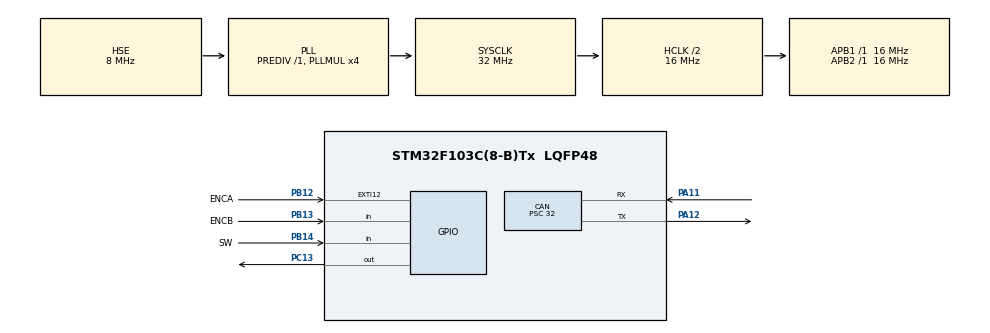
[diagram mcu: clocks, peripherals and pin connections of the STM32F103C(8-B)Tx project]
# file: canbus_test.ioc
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CAN.BS1=CAN_BS1_2TQ
CAN.BS2=CAN_BS2_2TQ
CAN.CalculateBaudRate=100000
CAN.CalculateTimeBit=10000.00
CAN.CalculateTimeQuantum=2000.0
CAN.NART=ENABLE
CAN.Prescaler=32
Mcu.Family=STM32F1
Mcu.Name=STM32F103C(8-B)Tx
Mcu.Package=LQFP48
NVIC.EXTI15_10_IRQn=true\:0\:0\:false\:false\:true\:true\:true
NVIC.PriorityGroup=NVIC_PRIORITYGROUP_4
NVIC.TIM2_IRQn=true\:0\:0\:false\:false\:true\:true\:true
PA11.Mode=CAN_Activate
PA11.Signal=CAN_RX
PA12.Mode=CAN_Activate
PA12.Signal=CAN_TX
PA13.Mode=Serial_Wire
PA13.Signal=SYS_JTMS-SWDIO
PA14.Mode=Serial_Wire
PA14.Signal=SYS_JTCK-SWCLK
PB12.GPIO_Label=ENCA
PB12.Signal=GPXTI12
PB13.GPIO_Label=ENCB
PB13.Signal=GPIO_Input
PB14.GPIO_Label=SW
PB14.Signal=GPIO_Input
PC13-TAMPER-RTC.Signal=GPIO_Output
PD0-OSC_IN.Mode=HSE-External-Oscillator
PD0-OSC_IN.Signal=RCC_OSC_IN
PD1-OSC_OUT.Mode=HSE-External-Oscillator
PD1-OSC_OUT.Signal=RCC_OSC_OUT
ProjectManager.HeapSize=0x200
ProjectManager.StackSize=0x400
ProjectManager.TargetToolchain=STM32CubeIDE
RCC.AHBCLKDivider=RCC_SYSCLK_DIV2
RCC.AHBFreq_Value=16000000
RCC.APB1Freq_Value=16000000
RCC.APB1TimFreq_Value=16000000
RCC.APB2Freq_Value=16000000
RCC.APB2TimFreq_Value=16000000
RCC.HCLKFreq_Value=16000000
RCC.PLLMUL=RCC_PLL_MUL4
RCC.PLLSourceVirtual=RCC_PLLSOURCE_HSE
RCC.SYSCLKFreq_VALUE=32000000
RCC.SYSCLKSource=RCC_SYSCLKSOURCE_PLLCLK
RCC.USBFreq_Value=32000000
TIM2.Period=500
TIM2.Prescaler=16000
VP_TIM2_VS_ClockSourceINT.Mode=Internal
board=custom

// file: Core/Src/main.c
/* USER CODE BEGIN Header */
/**
  ******************************************************************************
  * @file           : main.c
  * @brief          : Main program body
  ******************************************************************************
  * @attention
  *
  * <h2><center>&copy; Copyright (c) 2021 STMicroelectronics.
  * All rights reserved.</center></h2>
  *
  * This software component is licensed by ST under BSD 3-Clause license,
  * the "License"; You may not use this file except in compliance with the
  * License. You may obtain a copy of the License at:
  *                        opensource.org/licenses/BSD-3-Clause
  *
  ******************************************************************************
  */
/* USER CODE END Header */
#include "main.h"

/* USER CODE BEGIN Includes */
#include <stdio.h>
#include <string.h>
/* USER CODE END Includes */

/* USER CODE BEGIN PD */

#define status(value) HAL_GPIO_WritePin(GPIOC, GPIO_PIN_15, value)

/* USER CODE END PD */

CAN_HandleTypeDef hcan;

TIM_HandleTypeDef htim2;

/* USER CODE BEGIN PV */

CAN_TxHeaderTypeDef TxHeader; //structure for transmitting messages
CAN_RxHeaderTypeDef RxHeader; //structure for message reception
CAN_FilterTypeDef FilterConfig; //declare CAN filter structure

uint32_t TxMailbox;
uint8_t rxbuf[8];	//receive buffer
uint8_t txbuf[8];	//transmit buffer
uint8_t button_pressed;
uint8_t mailbox_free_level;

unsigned int read_time;
unsigned int updated_time;
unsigned int count;
unsigned char toggle_value;

union{
	unsigned char data[2];
	unsigned int number;
}conv;

/* USER CODE END PV */

void SystemClock_Config(void);
static void MX_GPIO_Init(void);
static void MX_CAN_Init(void);
static void MX_TIM2_Init(void);

int main(void)
{

  /* MCU Configuration--------------------------------------------------------*/

  /* Reset of all peripherals, Initializes the Flash interface and the Systick. */
  HAL_Init();

  /* Configure the system clock */
  SystemClock_Config();

  /* Initialize all configured peripherals */
  MX_GPIO_Init();
  MX_CAN_Init();
  MX_TIM2_Init();
  /* USER CODE BEGIN 2 */

  HAL_TIM_Base_Start_IT(&htim2);

  txbuf[0] = 0x00;
  toggle_value = 0;

  TxHeader.DLC=1; //give message size of 1 byte
  TxHeader.IDE=CAN_ID_STD; //set identifier to standard
  TxHeader.RTR=CAN_RTR_DATA; //RTR bit is set to data
  TxHeader.TransmitGlobalTime = DISABLE;

  FilterConfig.FilterFIFOAssignment = CAN_FILTER_FIFO0; //set fifo assignment
  FilterConfig.FilterIdHigh = 0; //0x245<<5; //the ID that the filter looks for
  FilterConfig.FilterIdLow = 0;
  FilterConfig.FilterMaskIdHigh = 0;
  FilterConfig.FilterMaskIdLow = 0;
  FilterConfig.FilterScale = CAN_FILTERSCALE_32BIT; //set filter scale
  //FilterConfig.FilterActivation = ENABLE;
  FilterConfig.FilterActivation = ENABLE;

  HAL_CAN_ConfigFilter(&hcan, &FilterConfig); //configure CAN filter

  HAL_CAN_Start(&hcan); //start CAN
  /* USER CODE END 2 */

  /* Infinite loop */
  /* USER CODE BEGIN WHILE */
  while (1)
  {

	  mailbox_free_level = HAL_CAN_GetTxMailboxesFreeLevel(&hcan);

	  read_time = HAL_GetTick();
	  if((read_time - updated_time) >= 1000){
		  updated_time = read_time;
		  count++;
		  TxHeader.StdId = 0x101;
		  TxHeader.DLC = 2;
		  //txbuf[0] = count;
		  conv.number = count;
		  if( mailbox_free_level > 0){
			  memcpy(txbuf, conv.data, sizeof(conv.data));
			  HAL_CAN_AddTxMessage(&hcan, &TxHeader, txbuf, &TxMailbox);
		  }
	  }

	  if((HAL_GPIO_ReadPin(GPIOB, GPIO_PIN_14) == 1) && (button_pressed == 0)){
		  txbuf[0] = toggle_value ^=1;
		  TxHeader.StdId = 0x100;
		  TxHeader.DLC = 1;
		  if( mailbox_free_level > 0){
			  HAL_CAN_AddTxMessage(&hcan, &TxHeader, txbuf, &TxMailbox);
		  }
		  button_pressed = 1;
		  status(1);
	  }else if(HAL_GPIO_ReadPin(GPIOB, GPIO_PIN_14) == 0){
		  button_pressed = 0;
		  status(0);
	  }

    /* USER CODE END WHILE */

  }
}

void SystemClock_Config(void)
{
  RCC_OscInitTypeDef RCC_OscInitStruct = {0};
  RCC_ClkInitTypeDef RCC_ClkInitStruct = {0};

  /** Initializes the RCC Oscillators according to the specified parameters
  * in the RCC_OscInitTypeDef structure.
  */
  RCC_OscInitStruct.OscillatorType = RCC_OSCILLATORTYPE_HSE;
  RCC_OscInitStruct.HSEState = RCC_HSE_ON;
  RCC_OscInitStruct.HSEPredivValue = RCC_HSE_PREDIV_DIV1;
  RCC_OscInitStruct.HSIState = RCC_HSI_ON;
  RCC_OscInitStruct.PLL.PLLState = RCC_PLL_ON;
  RCC_OscInitStruct.PLL.PLLSource = RCC_PLLSOURCE_HSE;
  RCC_OscInitStruct.PLL.PLLMUL = RCC_PLL_MUL4;
  if (HAL_RCC_OscConfig(&RCC_OscInitStruct) != HAL_OK)
  {
    Error_Handler();
  }
  /** Initializes the CPU, AHB and APB buses clocks
  */
  RCC_ClkInitStruct.ClockType = RCC_CLOCKTYPE_HCLK|RCC_CLOCKTYPE_SYSCLK
                              |RCC_CLOCKTYPE_PCLK1|RCC_CLOCKTYPE_PCLK2;
  RCC_ClkInitStruct.SYSCLKSource = RCC_SYSCLKSOURCE_PLLCLK;
  RCC_ClkInitStruct.AHBCLKDivider = RCC_SYSCLK_DIV2;
  RCC_ClkInitStruct.APB1CLKDivider = RCC_HCLK_DIV1;
  RCC_ClkInitStruct.APB2CLKDivider = RCC_HCLK_DIV1;

  if (HAL_RCC_ClockConfig(&RCC_ClkInitStruct, FLASH_LATENCY_1) != HAL_OK)
  {
    Error_Handler();
  }
}

static void MX_CAN_Init(void)
{

  hcan.Instance = CAN1;
  hcan.Init.Prescaler = 32;
  hcan.Init.Mode = CAN_MODE_NORMAL;
  hcan.Init.SyncJumpWidth = CAN_SJW_1TQ;
  hcan.Init.TimeSeg1 = CAN_BS1_2TQ;
  hcan.Init.TimeSeg2 = CAN_BS2_2TQ;
  hcan.Init.TimeTriggeredMode = DISABLE;
  hcan.Init.AutoBusOff = DISABLE;
  hcan.Init.AutoWakeUp = DISABLE;
  hcan.Init.AutoRetransmission = ENABLE;
  hcan.Init.ReceiveFifoLocked = DISABLE;
  hcan.Init.TransmitFifoPriority = DISABLE;
  if (HAL_CAN_Init(&hcan) != HAL_OK)
  {
    Error_Handler();
  }

}

static void MX_TIM2_Init(void)
{

  TIM_ClockConfigTypeDef sClockSourceConfig = {0};
  TIM_MasterConfigTypeDef sMasterConfig = {0};

  htim2.Instance = TIM2;
  htim2.Init.Prescaler = 16000;
  htim2.Init.CounterMode = TIM_COUNTERMODE_UP;
  htim2.Init.Period = 500;
  htim2.Init.ClockDivision = TIM_CLOCKDIVISION_DIV1;
  htim2.Init.AutoReloadPreload = TIM_AUTORELOAD_PRELOAD_DISABLE;
  if (HAL_TIM_Base_Init(&htim2) != HAL_OK)
  {
    Error_Handler();
  }
  sClockSourceConfig.ClockSource = TIM_CLOCKSOURCE_INTERNAL;
  if (HAL_TIM_ConfigClockSource(&htim2, &sClockSourceConfig) != HAL_OK)
  {
    Error_Handler();
  }
  sMasterConfig.MasterOutputTrigger = TIM_TRGO_RESET;
  sMasterConfig.MasterSlaveMode = TIM_MASTERSLAVEMODE_DISABLE;
  if (HAL_TIMEx_MasterConfigSynchronization(&htim2, &sMasterConfig) != HAL_OK)
  {
    Error_Handler();
  }

}

static void MX_GPIO_Init(void)
{
  GPIO_InitTypeDef GPIO_InitStruct = {0};

  /* GPIO Ports Clock Enable */
  __HAL_RCC_GPIOC_CLK_ENABLE();
  __HAL_RCC_GPIOD_CLK_ENABLE();
  __HAL_RCC_GPIOB_CLK_ENABLE();
  __HAL_RCC_GPIOA_CLK_ENABLE();

  /*Configure GPIO pin Output Level */
  HAL_GPIO_WritePin(GPIOC, GPIO_PIN_13, GPIO_PIN_RESET);

  /*Configure GPIO pin : PC13 */
  GPIO_InitStruct.Pin = GPIO_PIN_13;
  GPIO_InitStruct.Mode = GPIO_MODE_OUTPUT_PP;
  GPIO_InitStruct.Pull = GPIO_NOPULL;
  GPIO_InitStruct.Speed = GPIO_SPEED_FREQ_LOW;
  HAL_GPIO_Init(GPIOC, &GPIO_InitStruct);

  /*Configure GPIO pin : ENCA_Pin */
  GPIO_InitStruct.Pin = ENCA_Pin;
  GPIO_InitStruct.Mode = GPIO_MODE_IT_RISING;
  GPIO_InitStruct.Pull = GPIO_NOPULL;
  HAL_GPIO_Init(ENCA_GPIO_Port, &GPIO_InitStruct);

  /*Configure GPIO pins : ENCB_Pin SW_Pin */
  GPIO_InitStruct.Pin = ENCB_Pin|SW_Pin;
  GPIO_InitStruct.Mode = GPIO_MODE_INPUT;
  GPIO_InitStruct.Pull = GPIO_NOPULL;
  HAL_GPIO_Init(GPIOB, &GPIO_InitStruct);

  /* EXTI interrupt init*/
  HAL_NVIC_SetPriority(EXTI15_10_IRQn, 0, 0);
  HAL_NVIC_EnableIRQ(EXTI15_10_IRQn);

}

void Error_Handler(void)
{
  __disable_irq();
  while (1)
  {
  }
}

/************************ (C) COPYRIGHT STMicroelectronics *****END OF FILE****/
